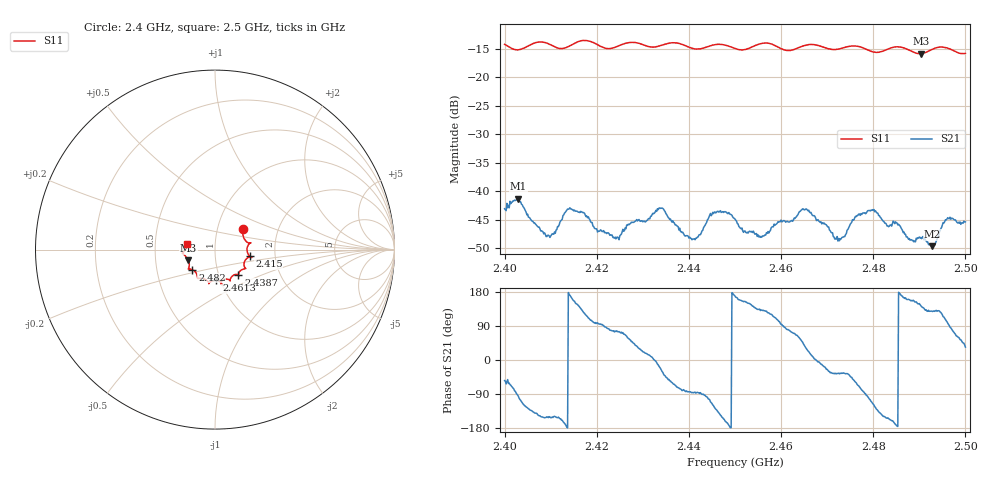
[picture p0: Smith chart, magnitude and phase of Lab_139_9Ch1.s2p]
# Hz S RI R 50
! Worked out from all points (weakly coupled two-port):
!   601 points, 2.4 GHz to 2.5 GHz, reference 50 ohm
!   highest |S21| = -41.34 dB at 2.403 GHz (marker M1); lowest = -49.7 dB at 2.4928 GHz (marker M2)
!   lowest |S11| = -15.9 dB at 2.4903 GHz (marker M3), VSWR 1.38, Z = 36.8 - j4.42 ohm
!   |S11| at or under -10 dB: start of sweep to end of sweep
!   S12 and S22 are empty: the file has one direction only
!   S11 on the Smith chart (normalised r, x): 2.4 GHz: 1.33, +0.31; 2.415 GHz: 1.47, -0.11; 2.4387 GHz: 1.24, -0.36; 2.4613 GHz: 0.96, -0.34; 2.482 GHz: 0.76, -0.17; 2.5 GHz: 0.73, +0.05
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2.4e9  0.1578 0.1126  0.00407 -0.00567  0 0  0 0
2.403e9  0.1619 0.0622  -0.000915 -0.00852  0 0  0 0
2.4095e9  0.193 0.0345  -0.00362 -0.00192  0 0  0 0
2.415e9  0.1927 -0.0367  -0.00611 0.00272  0 0  0 0
2.416667e9  0.2037 -0.0443  -0.00452 0.00474  0 0  0 0
2.424333e9  0.1621 -0.0891  0.000887 0.00383  0 0  0 0
2.433333e9  0.1321 -0.1315  0.00669 -0.00152  0 0  0 0
2.438667e9  0.1308 -0.1413  0.000741 -0.00428  0 0  0 0
2.4415e9  0.1044 -0.142  0.000172 -0.00385  0 0  0 0
2.445667e9  0.0831 -0.1736  -0.00397 -0.00519  0 0  0 0
2.45e9  0.0686 -0.1645  -0.00557 0.00111  0 0  0 0
2.455667e9  0.0357 -0.1936  -0.00268 0.00296  0 0  0 0
2.461333e9  0.00791 -0.1711  0.000914 0.00536  0 0  0 0
2.466667e9  -0.0345 -0.1903  0.00612 0.00124  0 0  0 0
2.472167e9  -0.0681 -0.1613  0.00325 -0.00231  0 0  0 0
2.477333e9  -0.0973 -0.1553  0.00149 -0.00616  0 0  0 0
2.482e9  -0.1263 -0.1114  -0.00465 -0.00304  0 0  0 0
2.483333e9  -0.14 -0.1085  -0.00441 -0.00206  0 0  0 0
2.490333e9  -0.1493 -0.0586  -0.00315 0.00233  0 0  0 0
2.492833e9  -0.1731 -0.0277  -0.00202 0.00258  0 0  0 0
2.496167e9  -0.1786 -0.0161  -0.000725 0.00579  0 0  0 0
2.5e9  -0.1581 0.0328  0.00443 0.003  0 0  0 0
